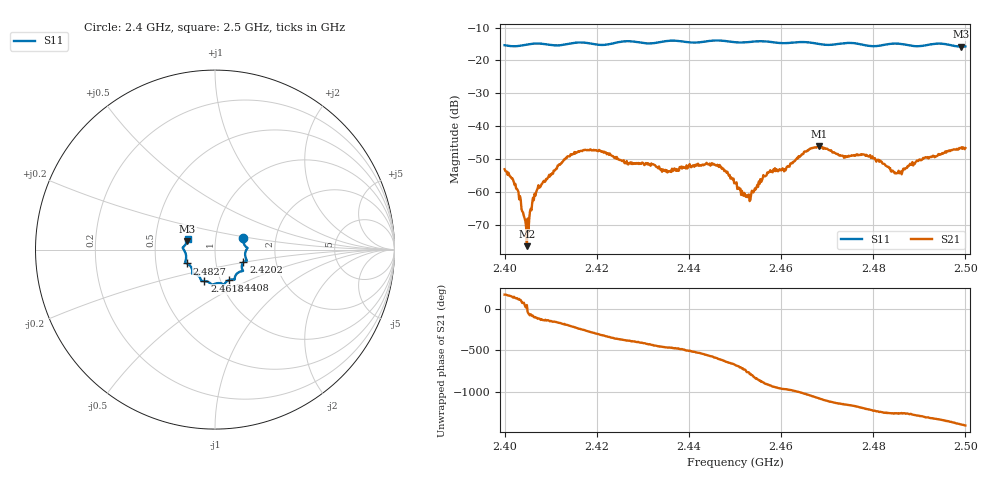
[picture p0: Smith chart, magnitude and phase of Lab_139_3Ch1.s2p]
# Hz S RI R 50
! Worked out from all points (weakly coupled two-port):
!   601 points, 2.4 GHz to 2.5 GHz, reference 50 ohm
!   highest |S21| = -46.15 dB at 2.4682 GHz (marker M1); lowest = -76.6 dB at 2.4048 GHz (marker M2)
!   lowest |S11| = -15.8 dB at 2.499 GHz (marker M3), VSWR 1.39, Z = 36.4 + j3.47 ohm
!   |S11| at or under -10 dB: start of sweep to end of sweep
!   S12 and S22 are empty: the file has one direction only
!   S11 on the Smith chart (normalised r, x): 2.4 GHz: 1.36, +0.18; 2.4202 GHz: 1.36, -0.20; 2.4408 GHz: 1.10, -0.39; 2.4618 GHz: 0.84, -0.30; 2.4827 GHz: 0.72, -0.11; 2.5 GHz: 0.73, +0.09
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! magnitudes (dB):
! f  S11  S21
! 2.4 GHz  -15.4  -53.1
! 2.4025 GHz  -15.7  -59.0
! 2.4048 GHz  -15.2  -76.6
! 2.4065 GHz  -14.9  -60.6
! 2.4075 GHz  -14.9  -58.8
! 2.4133 GHz  -15.1  -49.6
! 2.4167 GHz  -14.5  -47.5
! 2.4202 GHz  -15.2  -47.6
! 2.4333 GHz  -14.5  -52.9
! 2.4408 GHz  -14.6  -52.0
! 2.4465 GHz  -13.9  -52.4
! 2.45 GHz  -14.5  -57.4
! 2.4528 GHz  -14.4  -61.2
! 2.4572 GHz  -14.3  -54.3
! 2.4618 GHz  -14.7  -52.3
! 2.4667 GHz  -14.6  -46.7
! 2.4682 GHz  -15.0  -46.1
! 2.4827 GHz  -15.2  -52.0
! 2.4833 GHz  -15.0  -52.4
! 2.4858 GHz  -15.0  -54.0
! 2.499 GHz  -15.8  -46.7
! 2.5 GHz  -15.7  -46.7
